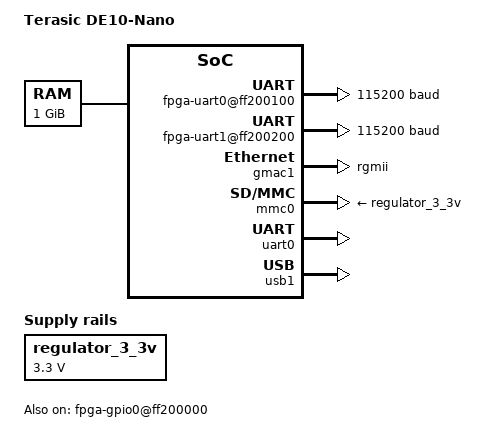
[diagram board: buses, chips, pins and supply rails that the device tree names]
#include "socfpga_cyclone5.dtsi"
#include <dt-bindings/interrupt-controller/irq.h>

/ {
	model = "Terasic DE10-Nano";
	compatible = "terasic,de10-nano", "altr,socfpga-cyclone5", "altr,socfpga";

	chosen {
		bootargs = "earlyprintk";
		stdout-path = "serial0:115200n8";
	};

	memory@0 {
		name = "memory";
		device_type = "memory";
		reg = <0x0 0x40000000>; /* 1GB */
	};

	aliases {
		ethernet0 = &gmac1;
	};

	regulator_3_3v: 3-3-v-regulator {
		compatible = "regulator-fixed";
		regulator-name = "3.3V";
		regulator-min-microvolt = <3300000>;
		regulator-max-microvolt = <3300000>;
	};
};

&gmac1 {
	status = "okay";
	phy-mode = "rgmii";

	txd0-skew-ps = <0>; /* -420ps */
	txd1-skew-ps = <0>; /* -420ps */
	txd2-skew-ps = <0>; /* -420ps */
	txd3-skew-ps = <0>; /* -420ps */
	rxd0-skew-ps = <420>; /* 0ps */
	rxd1-skew-ps = <420>; /* 0ps */
	rxd2-skew-ps = <420>; /* 0ps */
	rxd3-skew-ps = <420>; /* 0ps */
	txen-skew-ps = <0>; /* -420ps */
	txc-skew-ps = <1860>; /* 960ps */
	rxdv-skew-ps = <420>; /* 0ps */
	rxc-skew-ps = <1680>; /* 780ps */

	max-frame-size = <3800>;
};

/ {
	soc {
		fpga-gpio0@ff200000 {
			compatible = "wd,mbl-gpio";
			reg-names = "dat";
			reg = <0xff200000 0x1>;
			#gpio-cells = <2>;
			gpio-controller;
			status = "okay";
		};

		fpga-uart0@ff200100 {
			compatible = "altr,uart-1.0";
			reg = <0xff200100 0x20>;
			interrupts = <0 40 IRQ_TYPE_LEVEL_HIGH>;
			current-speed = <115200>;
			clock-frequency = <24000000>;
		};

		fpga-uart1@ff200200 {
			compatible = "altr,uart-1.0";
			reg = <0xff200200 0x20>;
			interrupts = <0 41 IRQ_TYPE_LEVEL_HIGH>;
			current-speed = <115200>;
			clock-frequency = <24000000>;
		};
	};
};

&mmc0 {
	vmmc-supply = <&regulator_3_3v>;
	vqmmc-supply = <&regulator_3_3v>;
	status = "okay";
};

&uart0 {
	status = "okay";
};

&usb1 {
	status = "okay";
};
